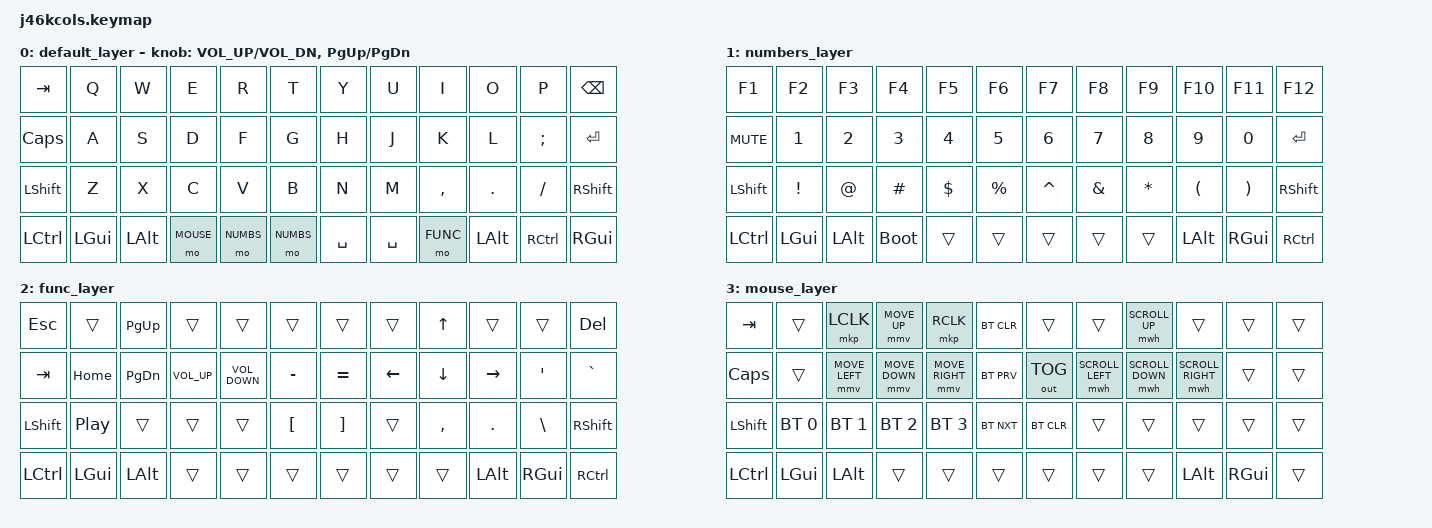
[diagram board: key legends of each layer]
/*
 * Copyright (c) 2021 The ZMK Contributors
 *
 * SPDX-License-Identifier: MIT
 */

#include <behaviors.dtsi>
#include <dt-bindings/zmk/keys.h>
#include <dt-bindings/zmk/bt.h>
#include <dt-bindings/zmk/mouse.h>
#include <dt-bindings/zmk/outputs.h>

#define DEFAULT 0
#define NUMBS   1
#define FUNC    2
#define MOUSE   3




/ {
    keymap {
        compatible = "zmk,keymap";
        
        default_layer {
            bindings = <
        &kp TAB    &kp Q    &kp W    &kp E     &kp R     &kp T     &kp Y     &kp U     &kp I     &kp O    &kp   P   &kp BSPC
        &kp CLCK   &kp A    &kp S    &kp D     &kp F     &kp G     &kp H     &kp J     &kp K     &kp L    &kp SEMI  &kp RET
        &kp LSHIFT &kp Z    &kp X    &kp C     &kp V     &kp B     &kp N     &kp M     &kp COMMA &kp DOT  &kp FSLH  &kp RSHFT
        &kp LCTRL  &kp LGUI &kp LALT &mo MOUSE &mo NUMBS &mo NUMBS &kp SPACE &kp SPACE &mo FUNC  &kp LALT &kp RCTRL &kp RGUI 
            >;
            sensor-bindings = <&inc_dec_kp C_VOL_UP C_VOL_DN &inc_dec_kp PG_UP PG_DN>;
        };

        numbers_layer {
            bindings = <
        &kp F1     &kp F2   &kp F3   &kp F4    &kp F5    &kp F6    &kp F7    &kp F8    &kp F9       &kp F10    &kp F11   &kp F12
        &kp C_MUTE &kp N1   &kp N2   &kp N3    &kp N4    &kp N5    &kp N6    &kp N7    &kp N8       &kp N9     &kp N0    &kp RET
        &kp LSHIFT &kp EXCL &kp AT   &kp HASH  &kp DLLR  &kp PRCNT &kp CARET &kp AMPS  &kp ASTERISK &kp LPAR   &kp RPAR  &kp RSHFT
        &kp LCTRL  &kp LGUI &kp LALT &bootloader    &trans    &trans    &trans    &trans    &trans       &kp LALT   &kp RGUI  &kp RCTRL
            >;
        };

        func_layer {
            bindings = <
        &kp ESC    &trans   &kp PG_UP &trans       &trans            &trans    &trans       &trans    &kp UP    &trans    &trans   &kp DEL
        &kp TAB    &kp HOME &kp PG_DN &kp C_VOL_UP &kp C_VOLUME_DOWN &kp MINUS &kp EQUAL    &kp LEFT  &kp DOWN  &kp RIGHT &kp SQT  &kp GRAVE
        &kp LSHIFT &kp C_PP &trans    &trans       &trans            &kp LBKT  &kp RBKT     &trans    &kp COMMA &kp DOT   &kp BSLH &kp RSHFT
        &kp LCTRL  &kp LGUI &kp LALT  &trans       &trans            &trans    &trans       &trans    &trans    &kp LALT  &kp RGUI &kp RCTRL
            >;
        };

        mouse_layer {
            bindings = <
        &kp TAB    &trans   &mkp LCLK      &mmv MOVE_UP   &mkp RCLK            &bt BT_CLR &trans       &trans             &mwh SCROLL_UP     &trans              &trans   &trans
        &kp CLCK   &trans   &mmv MOVE_LEFT &mmv MOVE_DOWN &mmv MOVE_RIGHT      &bt BT_PRV &out OUT_TOG &mwh SCROLL_LEFT   &mwh SCROLL_DOWN   &mwh SCROLL_RIGHT   &trans   &trans
        &kp LSHIFT &bt BT_SEL 0   &bt BT_SEL 1         &bt BT_SEL 2         &bt BT_SEL 3               &bt BT_NXT &bt BT_CLR   &trans             &trans             &trans              &trans   &trans
        &kp LCTRL  &kp LGUI &kp LALT       &trans         &trans               &trans     &trans       &trans             &trans             &kp LALT            &kp RGUI &trans
            >;
        };
    };
};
